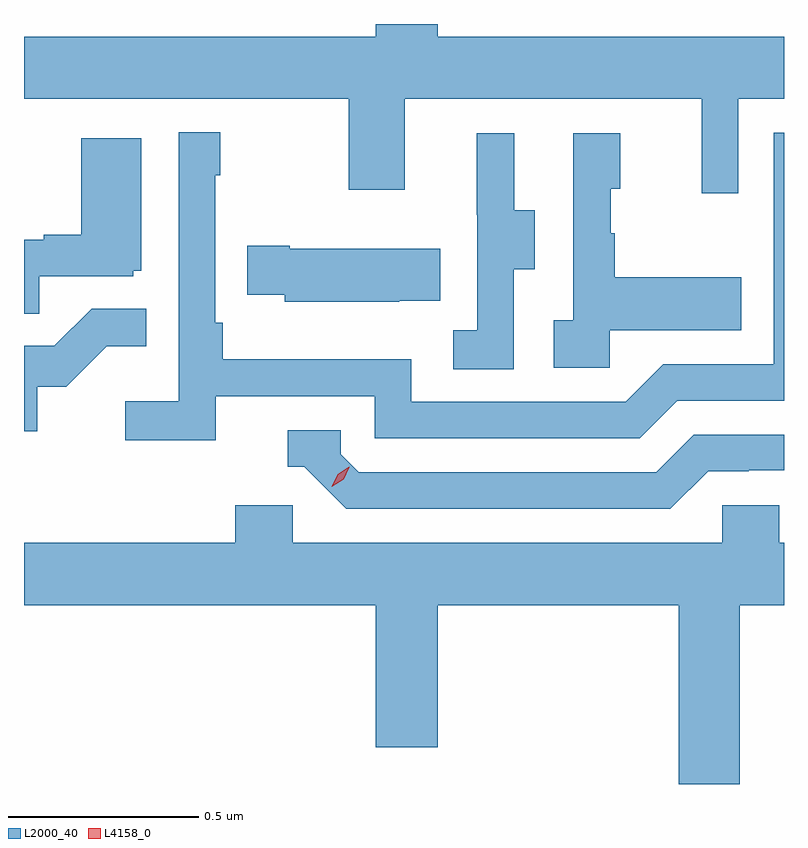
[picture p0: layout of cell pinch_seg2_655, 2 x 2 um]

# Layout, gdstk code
import gdstk
lib = gdstk.Library(unit=1e-6, precision=1e-09)
def P(c, l, *ps):  # polygons
    for p in ps: c.add(gdstk.Polygon(p, *l))
L2000_40 = (2000, 40)
L4158_0 = (4158, 0)

pinch_seg2_655 = lib.new_cell('pinch_seg2_655')
P(pinch_seg2_655, L2000_40, [(1065.063,587.696),(1065.183,587.696),(1065.183,587.86),(1064.272,587.86),(1064.272,587.893),(1064.108,587.893),(1064.108,587.86),(1063.183,587.86),(1063.183,587.696),(1064.038,587.696),(1064.038,587.457),(1064.185,587.457),(1064.185,587.696),(1064.966,587.696),(1064.966,587.448),(1065.063,587.448)],
  [(1063.688,586.914),(1064.106,586.914),(1064.106,586.803),(1064.803,586.803),(1064.902,586.902),(1065.183,586.902),(1065.183,587.607),(1065.156,587.607),(1065.156,586.998),(1064.865,586.998),(1064.766,586.899),(1064.202,586.899),(1064.202,587.011),(1063.706,587.011),(1063.706,587.107),(1063.686,587.107),(1063.686,587.495),(1063.699,587.495),(1063.699,587.608),(1063.59,587.608),(1063.59,586.9),(1063.449,586.9),(1063.449,586.798),(1063.688,586.798)],
  [(1064.724,587.087),(1065.071,587.087),(1065.071,587.227),(1064.737,587.227),(1064.737,587.342),(1064.727,587.342),(1064.727,587.46),(1064.752,587.46),(1064.752,587.605),(1064.628,587.605),(1064.628,587.114),(1064.577,587.114),(1064.577,586.989),(1064.724,586.989)],
  [(1064.472,587.248),(1064.527,587.248),(1064.527,587.403),(1064.473,587.403),(1064.473,587.605),(1064.375,587.605),(1064.375,587.391),(1064.376,587.391),(1064.376,587.087),(1064.313,587.087),(1064.313,586.984),(1064.472,586.984)],
  [(1063.223,587.229),(1063.47,587.229),(1063.47,587.244),(1063.492,587.244),(1063.492,587.593),(1063.334,587.593),(1063.334,587.338),(1063.235,587.338),(1063.235,587.325),(1063.183,587.325),(1063.183,587.131),(1063.223,587.131)],
  [(1064.171,587.165),(1064.279,587.165),(1064.279,587.302),(1063.882,587.302),(1063.882,587.31),(1063.771,587.31),(1063.771,587.18),(1063.869,587.18),(1063.869,587.162),(1064.171,587.162)],
  [(1063.218,586.938),(1063.294,586.938),(1063.401,587.045),(1063.505,587.045),(1063.505,587.144),(1063.361,587.144),(1063.263,587.046),(1063.183,587.046),(1063.183,586.821),(1063.218,586.821)],
  [(1064.983,586.716),(1065.09,586.716),(1065.09,586.719),(1065.183,586.719),(1065.183,586.812),(1064.946,586.812),(1064.847,586.713),(1064.064,586.713),(1064.016,586.761),(1064.016,586.824),(1063.877,586.824),(1063.877,586.728),(1063.92,586.728),(1064.031,586.617),(1064.884,586.617)],
  [(1065.066,586.364),(1065.183,586.364),(1065.183,586.528),(1065.171,586.528),(1065.171,586.626),(1065.021,586.626),(1065.021,586.528),(1063.89,586.528),(1063.89,586.626),(1063.739,586.626),(1063.739,586.528),(1063.183,586.528),(1063.183,586.364),(1064.108,586.364),(1064.108,585.99),(1064.272,585.99),(1064.272,586.364),(1064.906,586.364),(1064.906,585.893),(1065.066,585.893)])
P(pinch_seg2_655, L4158_0, [(1063.993,586.675),(1063.993,586.675),(1064.008,586.708),(1064.039,586.728),(1064.039,586.728),(1064.039,586.727),(1064.024,586.695),(1063.993,586.675)])

lib.write_gds('pinch_seg2_655.gds')
